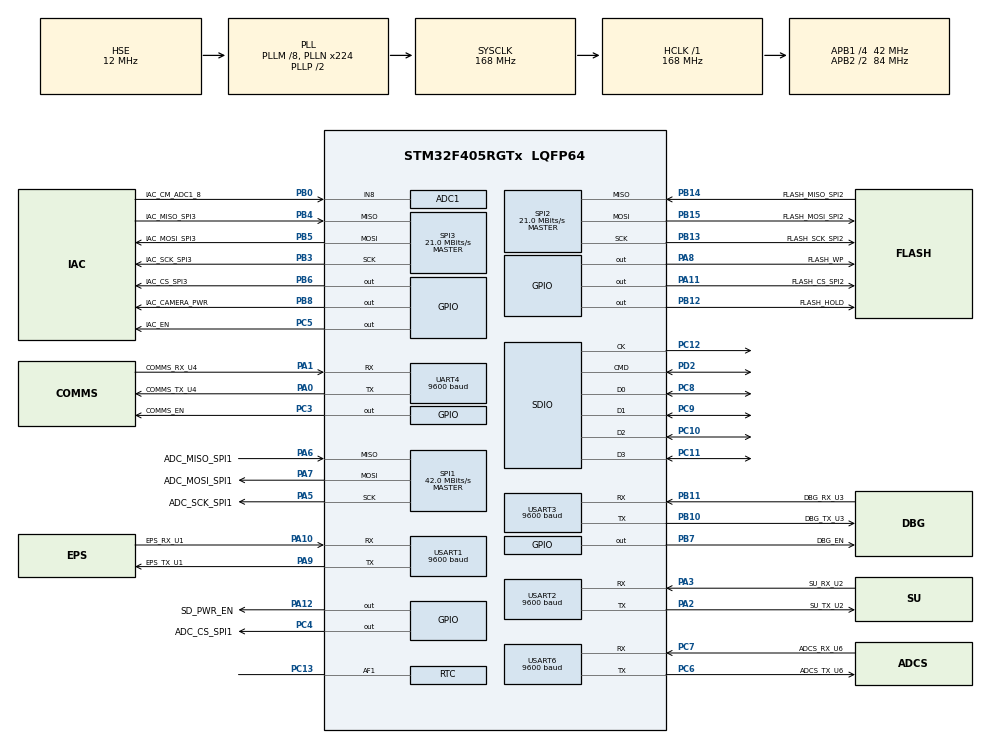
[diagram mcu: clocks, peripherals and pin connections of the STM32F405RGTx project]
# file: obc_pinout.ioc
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ADC1.Channel-17\#ChannelRegularConversion=ADC_CHANNEL_8
ADC1.NbrOfConversionFlag=1
ADC1.Rank-17\#ChannelRegularConversion=1
ADC1.SamplingTime-17\#ChannelRegularConversion=ADC_SAMPLETIME_3CYCLES
ADC1.master=1
Dma.Request0=USART2_TX
Dma.Request1=USART3_TX
Dma.Request2=USART6_TX
Dma.Request3=USART1_TX
Dma.Request4=UART4_TX
Dma.UART4_TX.4.Channel=DMA_CHANNEL_4
Dma.UART4_TX.4.Direction=DMA_MEMORY_TO_PERIPH
Dma.UART4_TX.4.FIFOMode=DMA_FIFOMODE_DISABLE
Dma.UART4_TX.4.Instance=DMA1_Stream4
Dma.UART4_TX.4.MemDataAlignment=DMA_MDATAALIGN_BYTE
Dma.UART4_TX.4.MemInc=DMA_MINC_ENABLE
Dma.UART4_TX.4.Mode=DMA_NORMAL
Dma.UART4_TX.4.PeriphDataAlignment=DMA_PDATAALIGN_BYTE
Dma.UART4_TX.4.PeriphInc=DMA_PINC_DISABLE
Dma.UART4_TX.4.Priority=DMA_PRIORITY_LOW
Dma.USART1_TX.3.Channel=DMA_CHANNEL_4
Dma.USART1_TX.3.Direction=DMA_MEMORY_TO_PERIPH
Dma.USART1_TX.3.FIFOMode=DMA_FIFOMODE_DISABLE
Dma.USART1_TX.3.Instance=DMA2_Stream7
Dma.USART1_TX.3.MemDataAlignment=DMA_MDATAALIGN_BYTE
Dma.USART1_TX.3.MemInc=DMA_MINC_ENABLE
Dma.USART1_TX.3.Mode=DMA_NORMAL
Dma.USART1_TX.3.PeriphDataAlignment=DMA_PDATAALIGN_BYTE
Dma.USART1_TX.3.PeriphInc=DMA_PINC_DISABLE
Dma.USART1_TX.3.Priority=DMA_PRIORITY_LOW
Dma.USART2_TX.0.Channel=DMA_CHANNEL_4
Dma.USART2_TX.0.Direction=DMA_MEMORY_TO_PERIPH
Dma.USART2_TX.0.FIFOMode=DMA_FIFOMODE_DISABLE
Dma.USART2_TX.0.Instance=DMA1_Stream6
Dma.USART2_TX.0.MemDataAlignment=DMA_MDATAALIGN_BYTE
Dma.USART2_TX.0.MemInc=DMA_MINC_ENABLE
Dma.USART2_TX.0.Mode=DMA_NORMAL
Dma.USART2_TX.0.PeriphDataAlignment=DMA_PDATAALIGN_BYTE
Dma.USART2_TX.0.PeriphInc=DMA_PINC_DISABLE
Dma.USART2_TX.0.Priority=DMA_PRIORITY_LOW
Dma.USART3_TX.1.Channel=DMA_CHANNEL_4
Dma.USART3_TX.1.Direction=DMA_MEMORY_TO_PERIPH
Dma.USART3_TX.1.FIFOMode=DMA_FIFOMODE_DISABLE
Dma.USART3_TX.1.Instance=DMA1_Stream3
Dma.USART3_TX.1.MemDataAlignment=DMA_MDATAALIGN_BYTE
Dma.USART3_TX.1.MemInc=DMA_MINC_ENABLE
Dma.USART3_TX.1.Mode=DMA_NORMAL
Dma.USART3_TX.1.PeriphDataAlignment=DMA_PDATAALIGN_BYTE
Dma.USART3_TX.1.PeriphInc=DMA_PINC_DISABLE
Dma.USART3_TX.1.Priority=DMA_PRIORITY_LOW
Dma.USART6_TX.2.Channel=DMA_CHANNEL_5
Dma.USART6_TX.2.Direction=DMA_MEMORY_TO_PERIPH
Dma.USART6_TX.2.FIFOMode=DMA_FIFOMODE_DISABLE
Dma.USART6_TX.2.Instance=DMA2_Stream6
Dma.USART6_TX.2.MemDataAlignment=DMA_MDATAALIGN_BYTE
Dma.USART6_TX.2.MemInc=DMA_MINC_ENABLE
Dma.USART6_TX.2.Mode=DMA_NORMAL
Dma.USART6_TX.2.PeriphDataAlignment=DMA_PDATAALIGN_BYTE
Dma.USART6_TX.2.PeriphInc=DMA_PINC_DISABLE
Dma.USART6_TX.2.Priority=DMA_PRIORITY_LOW
FATFS._FS_LOCK=1
FREERTOS.Tasks01=defaultTask,0,128,StartDefaultTask,Default;HK,-2,128,HK_task,Default
Mcu.Family=STM32F4
Mcu.Name=STM32F405RGTx
Mcu.Package=LQFP64
NVIC.DMA1_Stream3_IRQn=true\:5\:0\:false\:false\:true
NVIC.DMA1_Stream4_IRQn=true\:5\:0\:false\:false\:true
NVIC.DMA1_Stream6_IRQn=true\:5\:0\:false\:false\:true
NVIC.DMA2_Stream6_IRQn=true\:5\:0\:false\:false\:true
NVIC.DMA2_Stream7_IRQn=true\:5\:0\:false\:false\:true
NVIC.PriorityGroup=NVIC_PRIORITYGROUP_4
NVIC.SDIO_IRQn=true\:5\:0\:false\:false\:true
NVIC.TIM1_UP_TIM10_IRQn=true\:0\:0\:false\:false\:true
NVIC.TimeBase=TIM1_UP_TIM10_IRQn
NVIC.TimeBaseIP=TIM1
NVIC.UART4_IRQn=true\:5\:0\:false\:false\:true
NVIC.USART1_IRQn=true\:5\:0\:false\:false\:true
NVIC.USART2_IRQn=true\:5\:0\:false\:false\:true
NVIC.USART3_IRQn=true\:5\:0\:false\:false\:true
NVIC.USART6_IRQn=true\:5\:0\:false\:false\:true
PA0-WKUP.GPIO_Label=COMMS_TX_U4
PA0-WKUP.Mode=Asynchronous
PA0-WKUP.Signal=UART4_TX
PA1.GPIO_Label=COMMS_RX_U4
PA1.Mode=Asynchronous
PA1.Signal=UART4_RX
PA10.GPIO_Label=EPS_RX_U1
PA10.Mode=Asynchronous
PA10.Signal=USART1_RX
PA11.GPIO_Label=FLASH_CS_SPI2
PA11.Signal=GPIO_Output
PA12.GPIO_Label=SD_PWR_EN
PA12.Signal=GPIO_Output
PA13.Mode=Serial-Wire
PA13.Signal=SYS_JTMS-SWDIO
PA14.Mode=Serial-Wire
PA14.Signal=SYS_JTCK-SWCLK
PA2.GPIO_Label=SU_TX_U2
PA2.Mode=Asynchronous
PA2.Signal=USART2_TX
PA3.GPIO_Label=SU_RX_U2
PA3.Mode=Asynchronous
PA3.Signal=USART2_RX
PA5.GPIO_Label=ADC_SCK_SPI1
PA5.Mode=Full_Duplex_Master
PA5.Signal=SPI1_SCK
PA6.GPIO_Label=ADC_MISO_SPI1
PA6.Mode=Full_Duplex_Master
PA6.Signal=SPI1_MISO
PA7.GPIO_Label=ADC_MOSI_SPI1
PA7.Mode=Full_Duplex_Master
PA7.Signal=SPI1_MOSI
PA8.GPIO_Label=FLASH_WP
PA8.Signal=GPIO_Output
PA9.GPIO_Label=EPS_TX_U1
PA9.Mode=Asynchronous
PA9.Signal=USART1_TX
PB0.GPIO_Label=IAC_CM_ADC1_8
PB0.Signal=ADCx_IN8
PB10.GPIO_Label=DBG_TX_U3
PB10.Mode=Asynchronous
PB10.Signal=USART3_TX
PB11.GPIO_Label=DBG_RX_U3
PB11.Mode=Asynchronous
PB11.Signal=USART3_RX
PB12.GPIO_Label=FLASH_HOLD
PB12.Signal=GPIO_Output
PB13.GPIO_Label=FLASH_SCK_SPI2
PB13.Mode=Full_Duplex_Master
PB13.Signal=SPI2_SCK
PB14.GPIO_Label=FLASH_MISO_SPI2
PB14.Mode=Full_Duplex_Master
PB14.Signal=SPI2_MISO
PB15.GPIO_Label=FLASH_MOSI_SPI2
PB15.Mode=Full_Duplex_Master
PB15.Signal=SPI2_MOSI
PB3.GPIO_Label=IAC_SCK_SPI3
PB3.Mode=Full_Duplex_Master
PB3.Signal=SPI3_SCK
PB4.GPIO_Label=IAC_MISO_SPI3
PB4.Mode=Full_Duplex_Master
PB4.Signal=SPI3_MISO
PB5.GPIO_Label=IAC_MOSI_SPI3
PB5.Mode=Full_Duplex_Master
PB5.Signal=SPI3_MOSI
PB6.GPIO_Label=IAC_CS_SPI3
PB6.Signal=GPIO_Output
PB7.GPIO_Label=DBG_EN
PB7.Signal=GPIO_Output
PB8.GPIO_Label=IAC_CAMERA_PWR
PB8.Signal=GPIO_Output
PC10.Mode=SD_4_bits_Wide_bus
PC10.Signal=SDIO_D2
PC11.Mode=SD_4_bits_Wide_bus
PC11.Signal=SDIO_D3
PC12.Mode=SD_4_bits_Wide_bus
PC12.Signal=SDIO_CK
PC13-ANTI_TAMP.Mode=Calibration_1Hz
PC13-ANTI_TAMP.Signal=RTC_AF1
PC14-OSC32_IN.Mode=LSE-External-Oscillator
PC14-OSC32_IN.Signal=RCC_OSC32_IN
PC15-OSC32_OUT.Mode=LSE-External-Oscillator
PC15-OSC32_OUT.Signal=RCC_OSC32_OUT
PC3.GPIO_Label=COMMS_EN
PC3.Signal=GPIO_Output
PC4.GPIO_Label=ADC_CS_SPI1
PC4.Signal=GPIO_Output
PC5.GPIO_Label=IAC_EN
PC5.Signal=GPIO_Output
PC6.GPIO_Label=ADCS_TX_U6
PC6.Mode=Asynchronous
PC6.Signal=USART6_TX
PC7.GPIO_Label=ADCS_RX_U6
PC7.Mode=Asynchronous
PC7.Signal=USART6_RX
PC8.Mode=SD_4_bits_Wide_bus
PC8.Signal=SDIO_D0
PC9.Mode=SD_4_bits_Wide_bus
PC9.Signal=SDIO_D1
PD2.Mode=SD_4_bits_Wide_bus
PD2.Signal=SDIO_CMD
PH0-OSC_IN.Mode=HSE-External-Oscillator
PH0-OSC_IN.Signal=RCC_OSC_IN
PH1-OSC_OUT.Mode=HSE-External-Oscillator
PH1-OSC_OUT.Signal=RCC_OSC_OUT
ProjectManager.HeapSize=0x200
ProjectManager.StackSize=0x400
ProjectManager.TargetToolchain=EWARM
RCC.48MHZClocksFreq_Value=48000000
RCC.AHBFreq_Value=168000000
RCC.APB1CLKDivider=RCC_HCLK_DIV4
RCC.APB1Freq_Value=42000000
RCC.APB1TimFreq_Value=84000000
RCC.APB2CLKDivider=RCC_HCLK_DIV2
RCC.APB2Freq_Value=84000000
RCC.APB2TimFreq_Value=168000000
RCC.CortexFreq_Value=168000000
RCC.HCLKFreq_Value=168000000
RCC.HSE_VALUE=12000000
RCC.HSI_VALUE=16000000
RCC.PLLM=8
RCC.PLLN=224
RCC.PLLQ=7
RCC.PLLSourceVirtual=RCC_PLLSOURCE_HSE
RCC.RCC_RTC_Clock_Source=RCC_RTCCLKSOURCE_LSE
RCC.SYSCLKFreq_VALUE=168000000
RCC.SYSCLKSource=RCC_SYSCLKSOURCE_PLLCLK
RCC.VCOOutputFreq_Value=336000000
RTC.Format=RTC_FORMAT_BIN
SDIO.BusWide=SDIO_BUS_WIDE_1B
SDIO.WideMode=SDIO_BUS_WIDE_4B
SH.ADCx_IN8.0=ADC1_IN8,IN8
SPI1.CalculateBaudRate=42.0 MBits/s
SPI1.Mode=SPI_MODE_MASTER
SPI2.CalculateBaudRate=21.0 MBits/s
SPI2.Mode=SPI_MODE_MASTER
SPI3.CalculateBaudRate=21.0 MBits/s
SPI3.Mode=SPI_MODE_MASTER
UART4.BaudRate=9600
USART1.BaudRate=9600
USART2.BaudRate=9600
USART3.BaudRate=9600
USART6.BaudRate=9600
VP_FATFS_VS_SDIO.Mode=SDIO
VP_FREERTOS_VS_ENABLE.Mode=Enabled
VP_SYS_VS_tim1.Mode=TIM1
board=obc_pinout

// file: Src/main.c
/**
  ******************************************************************************
  * File Name          : main.c
  * Description        : Main program body
  ******************************************************************************
  *
  * COPYRIGHT(c) 2016 STMicroelectronics
  *
  * Redistribution and use in source and binary forms, with or without modification,
  * are permitted provided that the following conditions are met:
  *   1. Redistributions of source code must retain the above copyright notice,
  *      this list of conditions and the following disclaimer.
  *   2. Redistributions in binary form must reproduce the above copyright notice,
  *      this list of conditions and the following disclaimer in the documentation
  *      and/or other materials provided with the distribution.
  *   3. Neither the name of STMicroelectronics nor the names of its contributors
  *      may be used to endorse or promote products derived from this software
  *      without specific prior written permission.
  *
  * THIS SOFTWARE IS PROVIDED BY THE COPYRIGHT HOLDERS AND CONTRIBUTORS "AS IS"
  * AND ANY EXPRESS OR IMPLIED WARRANTIES, INCLUDING, BUT NOT LIMITED TO, THE
  * IMPLIED WARRANTIES OF MERCHANTABILITY AND FITNESS FOR A PARTICULAR PURPOSE ARE
  * DISCLAIMED. IN NO EVENT SHALL THE COPYRIGHT HOLDER OR CONTRIBUTORS BE LIABLE
  * FOR ANY DIRECT, INDIRECT, INCIDENTAL, SPECIAL, EXEMPLARY, OR CONSEQUENTIAL
  * DAMAGES (INCLUDING, BUT NOT LIMITED TO, PROCUREMENT OF SUBSTITUTE GOODS OR
  * SERVICES; LOSS OF USE, DATA, OR PROFITS; OR BUSINESS INTERRUPTION) HOWEVER
  * CAUSED AND ON ANY THEORY OF LIABILITY, WHETHER IN CONTRACT, STRICT LIABILITY,
  * OR TORT (INCLUDING NEGLIGENCE OR OTHERWISE) ARISING IN ANY WAY OUT OF THE USE
  * OF THIS SOFTWARE, EVEN IF ADVISED OF THE POSSIBILITY OF SUCH DAMAGE.
  *
  ******************************************************************************
  */
#include "stm32f4xx_hal.h"
#include "cmsis_os.h"
#include "fatfs.h"

/* USER CODE BEGIN Includes */
#include "../../services/service_utilities.h"
/* USER CODE END Includes */

ADC_HandleTypeDef hadc1;

RTC_HandleTypeDef hrtc;

SD_HandleTypeDef hsd;
HAL_SD_CardInfoTypedef SDCardInfo;

SPI_HandleTypeDef hspi1;
SPI_HandleTypeDef hspi2;
SPI_HandleTypeDef hspi3;

UART_HandleTypeDef huart4;
UART_HandleTypeDef huart1;
UART_HandleTypeDef huart2;
UART_HandleTypeDef huart3;
UART_HandleTypeDef huart6;
DMA_HandleTypeDef hdma_uart4_tx;
DMA_HandleTypeDef hdma_usart1_tx;
DMA_HandleTypeDef hdma_usart2_tx;
DMA_HandleTypeDef hdma_usart3_tx;
DMA_HandleTypeDef hdma_usart6_tx;

osThreadId defaultTaskHandle;
osThreadId HKHandle;

/* USER CODE BEGIN PV */
/* Private variables ---------------------------------------------------------*/

/* USER CODE END PV */

void SystemClock_Config(void);
static void MX_GPIO_Init(void);
static void MX_DMA_Init(void);
static void MX_SDIO_SD_Init(void);
static void MX_UART4_Init(void);
static void MX_USART2_UART_Init(void);
static void MX_USART3_UART_Init(void);
static void MX_USART6_UART_Init(void);
static void MX_USART1_UART_Init(void);
static void MX_SPI2_Init(void);
static void MX_SPI1_Init(void);
static void MX_SPI3_Init(void);
static void MX_ADC1_Init(void);
static void MX_RTC_Init(void);
void StartDefaultTask(void const * argument);
void HK_task(void const * argument);

/* USER CODE BEGIN PFP */
/* Private function prototypes -----------------------------------------------*/

/* USER CODE END PFP */

int main(void)
{

  /* MCU Configuration----------------------------------------------------------*/

  /* Reset of all peripherals, Initializes the Flash interface and the Systick. */
  HAL_Init();

  /* Configure the system clock */
  SystemClock_Config();

  /* Initialize all configured peripherals */
  MX_GPIO_Init();
  MX_DMA_Init();
  MX_SDIO_SD_Init();
  MX_UART4_Init();
  MX_USART2_UART_Init();
  MX_USART3_UART_Init();
  MX_USART6_UART_Init();
  MX_USART1_UART_Init();
  MX_SPI2_Init();
  MX_SPI1_Init();
  MX_SPI3_Init();
  MX_ADC1_Init();
  MX_RTC_Init();

  /* Create the thread(s) */
  /* definition and creation of defaultTask */
  osThreadDef(defaultTask, StartDefaultTask, osPriorityNormal, 0, 128);
  defaultTaskHandle = osThreadCreate(osThread(defaultTask), NULL);

  /* definition and creation of HK */
  osThreadDef(HK, HK_task, osPriorityLow, 0, 128);
  HKHandle = osThreadCreate(osThread(HK), NULL);

  /* Start scheduler */
  osKernelStart();

  /* We should never get here as control is now taken by the scheduler */

  /* Infinite loop */
  while (1)
  {

  }

}

/** System Clock Configuration
*/
void SystemClock_Config(void)
{

  RCC_OscInitTypeDef RCC_OscInitStruct;
  RCC_ClkInitTypeDef RCC_ClkInitStruct;
  RCC_PeriphCLKInitTypeDef PeriphClkInitStruct;

  __HAL_RCC_PWR_CLK_ENABLE();

  __HAL_PWR_VOLTAGESCALING_CONFIG(PWR_REGULATOR_VOLTAGE_SCALE1);

  RCC_OscInitStruct.OscillatorType = RCC_OSCILLATORTYPE_HSE|RCC_OSCILLATORTYPE_LSE;
  RCC_OscInitStruct.HSEState = RCC_HSE_ON;
  RCC_OscInitStruct.LSEState = RCC_LSE_ON;
  RCC_OscInitStruct.PLL.PLLState = RCC_PLL_ON;
  RCC_OscInitStruct.PLL.PLLSource = RCC_PLLSOURCE_HSE;
  RCC_OscInitStruct.PLL.PLLM = 8;
  RCC_OscInitStruct.PLL.PLLN = 224;
  RCC_OscInitStruct.PLL.PLLP = RCC_PLLP_DIV2;
  RCC_OscInitStruct.PLL.PLLQ = 7;
  HAL_RCC_OscConfig(&RCC_OscInitStruct);

  RCC_ClkInitStruct.ClockType = RCC_CLOCKTYPE_HCLK|RCC_CLOCKTYPE_SYSCLK
                              |RCC_CLOCKTYPE_PCLK1|RCC_CLOCKTYPE_PCLK2;
  RCC_ClkInitStruct.SYSCLKSource = RCC_SYSCLKSOURCE_PLLCLK;
  RCC_ClkInitStruct.AHBCLKDivider = RCC_SYSCLK_DIV1;
  RCC_ClkInitStruct.APB1CLKDivider = RCC_HCLK_DIV4;
  RCC_ClkInitStruct.APB2CLKDivider = RCC_HCLK_DIV2;
  HAL_RCC_ClockConfig(&RCC_ClkInitStruct, FLASH_LATENCY_5);

  PeriphClkInitStruct.PeriphClockSelection = RCC_PERIPHCLK_RTC;
  PeriphClkInitStruct.RTCClockSelection = RCC_RTCCLKSOURCE_LSE;
  HAL_RCCEx_PeriphCLKConfig(&PeriphClkInitStruct);

  HAL_SYSTICK_Config(HAL_RCC_GetHCLKFreq()/1000);

  HAL_SYSTICK_CLKSourceConfig(SYSTICK_CLKSOURCE_HCLK);

  /* SysTick_IRQn interrupt configuration */
  HAL_NVIC_SetPriority(SysTick_IRQn, 15, 0);
}

/* ADC1 init function */
void MX_ADC1_Init(void)
{

  ADC_ChannelConfTypeDef sConfig;

    /**Configure the global features of the ADC (Clock, Resolution, Data Alignment and number of conversion)
    */
  hadc1.Instance = ADC1;
  hadc1.Init.ClockPrescaler = ADC_CLOCK_SYNC_PCLK_DIV2;
  hadc1.Init.Resolution = ADC_RESOLUTION_12B;
  hadc1.Init.ScanConvMode = DISABLE;
  hadc1.Init.ContinuousConvMode = DISABLE;
  hadc1.Init.DiscontinuousConvMode = DISABLE;
  hadc1.Init.ExternalTrigConvEdge = ADC_EXTERNALTRIGCONVEDGE_NONE;
  hadc1.Init.DataAlign = ADC_DATAALIGN_RIGHT;
  hadc1.Init.NbrOfConversion = 1;
  hadc1.Init.DMAContinuousRequests = DISABLE;
  hadc1.Init.EOCSelection = ADC_EOC_SINGLE_CONV;
  HAL_ADC_Init(&hadc1);

    /**Configure for the selected ADC regular channel its corresponding rank in the sequencer and its sample time.
    */
  sConfig.Channel = ADC_CHANNEL_8;
  sConfig.Rank = 1;
  sConfig.SamplingTime = ADC_SAMPLETIME_3CYCLES;
  HAL_ADC_ConfigChannel(&hadc1, &sConfig);

}

/* RTC init function */
void MX_RTC_Init(void)
{

  RTC_TimeTypeDef sTime;
  RTC_DateTypeDef sDate;

    /**Initialize RTC and set the Time and Date
    */
  hrtc.Instance = RTC;
  hrtc.Init.HourFormat = RTC_HOURFORMAT_24;
  hrtc.Init.AsynchPrediv = 127;
  hrtc.Init.SynchPrediv = 255;
  hrtc.Init.OutPut = RTC_OUTPUT_DISABLE;
  hrtc.Init.OutPutPolarity = RTC_OUTPUT_POLARITY_HIGH;
  hrtc.Init.OutPutType = RTC_OUTPUT_TYPE_OPENDRAIN;
  HAL_RTC_Init(&hrtc);

  sTime.Hours = 0;
  sTime.Minutes = 0;
  sTime.Seconds = 0;
  sTime.DayLightSaving = RTC_DAYLIGHTSAVING_NONE;
  sTime.StoreOperation = RTC_STOREOPERATION_RESET;
  HAL_RTC_SetTime(&hrtc, &sTime, RTC_FORMAT_BIN);

  sDate.WeekDay = RTC_WEEKDAY_MONDAY;
  sDate.Month = RTC_MONTH_JANUARY;
  sDate.Date = 1;
  sDate.Year = 0;

  HAL_RTC_SetDate(&hrtc, &sDate, RTC_FORMAT_BIN);

    /**Enable Calibrartion
    */
  HAL_RTCEx_SetCalibrationOutPut(&hrtc, RTC_CALIBOUTPUT_1HZ);

}

/* SDIO init function */
void MX_SDIO_SD_Init(void)
{

  hsd.Instance = SDIO;
  hsd.Init.ClockEdge = SDIO_CLOCK_EDGE_RISING;
  hsd.Init.ClockBypass = SDIO_CLOCK_BYPASS_DISABLE;
  hsd.Init.ClockPowerSave = SDIO_CLOCK_POWER_SAVE_DISABLE;
  hsd.Init.BusWide = SDIO_BUS_WIDE_1B;
  hsd.Init.HardwareFlowControl = SDIO_HARDWARE_FLOW_CONTROL_DISABLE;
  hsd.Init.ClockDiv = 0;

}

/* SPI1 init function */
void MX_SPI1_Init(void)
{

  hspi1.Instance = SPI1;
  hspi1.Init.Mode = SPI_MODE_MASTER;
  hspi1.Init.Direction = SPI_DIRECTION_2LINES;
  hspi1.Init.DataSize = SPI_DATASIZE_8BIT;
  hspi1.Init.CLKPolarity = SPI_POLARITY_LOW;
  hspi1.Init.CLKPhase = SPI_PHASE_1EDGE;
  hspi1.Init.NSS = SPI_NSS_SOFT;
  hspi1.Init.BaudRatePrescaler = SPI_BAUDRATEPRESCALER_2;
  hspi1.Init.FirstBit = SPI_FIRSTBIT_MSB;
  hspi1.Init.TIMode = SPI_TIMODE_DISABLE;
  hspi1.Init.CRCCalculation = SPI_CRCCALCULATION_DISABLE;
  hspi1.Init.CRCPolynomial = 10;
  HAL_SPI_Init(&hspi1);

}

/* SPI2 init function */
void MX_SPI2_Init(void)
{

  hspi2.Instance = SPI2;
  hspi2.Init.Mode = SPI_MODE_MASTER;
  hspi2.Init.Direction = SPI_DIRECTION_2LINES;
  hspi2.Init.DataSize = SPI_DATASIZE_8BIT;
  hspi2.Init.CLKPolarity = SPI_POLARITY_LOW;
  hspi2.Init.CLKPhase = SPI_PHASE_1EDGE;
  hspi2.Init.NSS = SPI_NSS_SOFT;
  hspi2.Init.BaudRatePrescaler = SPI_BAUDRATEPRESCALER_2;
  hspi2.Init.FirstBit = SPI_FIRSTBIT_MSB;
  hspi2.Init.TIMode = SPI_TIMODE_DISABLE;
  hspi2.Init.CRCCalculation = SPI_CRCCALCULATION_DISABLE;
  hspi2.Init.CRCPolynomial = 10;
  HAL_SPI_Init(&hspi2);

}

/* SPI3 init function */
void MX_SPI3_Init(void)
{

  hspi3.Instance = SPI3;
  hspi3.Init.Mode = SPI_MODE_MASTER;
  hspi3.Init.Direction = SPI_DIRECTION_2LINES;
  hspi3.Init.DataSize = SPI_DATASIZE_8BIT;
  hspi3.Init.CLKPolarity = SPI_POLARITY_LOW;
  hspi3.Init.CLKPhase = SPI_PHASE_1EDGE;
  hspi3.Init.NSS = SPI_NSS_SOFT;
  hspi3.Init.BaudRatePrescaler = SPI_BAUDRATEPRESCALER_2;
  hspi3.Init.FirstBit = SPI_FIRSTBIT_MSB;
  hspi3.Init.TIMode = SPI_TIMODE_DISABLE;
  hspi3.Init.CRCCalculation = SPI_CRCCALCULATION_DISABLE;
  hspi3.Init.CRCPolynomial = 10;
  HAL_SPI_Init(&hspi3);

}

/* UART4 init function */
void MX_UART4_Init(void)
{

  huart4.Instance = UART4;
  huart4.Init.BaudRate = 9600;
  huart4.Init.WordLength = UART_WORDLENGTH_8B;
  huart4.Init.StopBits = UART_STOPBITS_1;
  huart4.Init.Parity = UART_PARITY_NONE;
  huart4.Init.Mode = UART_MODE_TX_RX;
  huart4.Init.HwFlowCtl = UART_HWCONTROL_NONE;
  huart4.Init.OverSampling = UART_OVERSAMPLING_16;
  HAL_UART_Init(&huart4);

}

/* USART1 init function */
void MX_USART1_UART_Init(void)
{

  huart1.Instance = USART1;
  huart1.Init.BaudRate = 9600;
  huart1.Init.WordLength = UART_WORDLENGTH_8B;
  huart1.Init.StopBits = UART_STOPBITS_1;
  huart1.Init.Parity = UART_PARITY_NONE;
  huart1.Init.Mode = UART_MODE_TX_RX;
  huart1.Init.HwFlowCtl = UART_HWCONTROL_NONE;
  huart1.Init.OverSampling = UART_OVERSAMPLING_16;
  HAL_UART_Init(&huart1);

}

/* USART2 init function */
void MX_USART2_UART_Init(void)
{

  huart2.Instance = USART2;
  huart2.Init.BaudRate = 9600;
  huart2.Init.WordLength = UART_WORDLENGTH_8B;
  huart2.Init.StopBits = UART_STOPBITS_1;
  huart2.Init.Parity = UART_PARITY_NONE;
  huart2.Init.Mode = UART_MODE_TX_RX;
  huart2.Init.HwFlowCtl = UART_HWCONTROL_NONE;
  huart2.Init.OverSampling = UART_OVERSAMPLING_16;
  HAL_UART_Init(&huart2);

}

/* USART3 init function */
void MX_USART3_UART_Init(void)
{

  huart3.Instance = USART3;
  huart3.Init.BaudRate = 9600;
  huart3.Init.WordLength = UART_WORDLENGTH_8B;
  huart3.Init.StopBits = UART_STOPBITS_1;
  huart3.Init.Parity = UART_PARITY_NONE;
  huart3.Init.Mode = UART_MODE_TX_RX;
  huart3.Init.HwFlowCtl = UART_HWCONTROL_NONE;
  huart3.Init.OverSampling = UART_OVERSAMPLING_16;
  HAL_UART_Init(&huart3);

}

/* USART6 init function */
void MX_USART6_UART_Init(void)
{

  huart6.Instance = USART6;
  huart6.Init.BaudRate = 9600;
  huart6.Init.WordLength = UART_WORDLENGTH_8B;
  huart6.Init.StopBits = UART_STOPBITS_1;
  huart6.Init.Parity = UART_PARITY_NONE;
  huart6.Init.Mode = UART_MODE_TX_RX;
  huart6.Init.HwFlowCtl = UART_HWCONTROL_NONE;
  huart6.Init.OverSampling = UART_OVERSAMPLING_16;
  HAL_UART_Init(&huart6);

}

void MX_DMA_Init(void)
{
  /* DMA controller clock enable */
  __HAL_RCC_DMA1_CLK_ENABLE();
  __HAL_RCC_DMA2_CLK_ENABLE();

  /* DMA interrupt init */
  /* DMA1_Stream3_IRQn interrupt configuration */
  HAL_NVIC_SetPriority(DMA1_Stream3_IRQn, 5, 0);
  HAL_NVIC_EnableIRQ(DMA1_Stream3_IRQn);
  /* DMA1_Stream4_IRQn interrupt configuration */
  HAL_NVIC_SetPriority(DMA1_Stream4_IRQn, 5, 0);
  HAL_NVIC_EnableIRQ(DMA1_Stream4_IRQn);
  /* DMA1_Stream6_IRQn interrupt configuration */
  HAL_NVIC_SetPriority(DMA1_Stream6_IRQn, 5, 0);
  HAL_NVIC_EnableIRQ(DMA1_Stream6_IRQn);
  /* DMA2_Stream6_IRQn interrupt configuration */
  HAL_NVIC_SetPriority(DMA2_Stream6_IRQn, 5, 0);
  HAL_NVIC_EnableIRQ(DMA2_Stream6_IRQn);
  /* DMA2_Stream7_IRQn interrupt configuration */
  HAL_NVIC_SetPriority(DMA2_Stream7_IRQn, 5, 0);
  HAL_NVIC_EnableIRQ(DMA2_Stream7_IRQn);

}

/** Configure pins as
        * Analog
        * Input
        * Output
        * EVENT_OUT
        * EXTI
*/
void MX_GPIO_Init(void)
{

  GPIO_InitTypeDef GPIO_InitStruct;

  /* GPIO Ports Clock Enable */
  __HAL_RCC_GPIOC_CLK_ENABLE();
  __HAL_RCC_GPIOH_CLK_ENABLE();
  __HAL_RCC_GPIOA_CLK_ENABLE();
  __HAL_RCC_GPIOB_CLK_ENABLE();
  __HAL_RCC_GPIOD_CLK_ENABLE();

  /*Configure GPIO pin Output Level */
  HAL_GPIO_WritePin(GPIOC, COMMS_EN_Pin|ADC_CS_SPI1_Pin|IAC_EN_Pin, GPIO_PIN_RESET);

  /*Configure GPIO pin Output Level */
  HAL_GPIO_WritePin(GPIOB, FLASH_HOLD_Pin|IAC_CS_SPI3_Pin|DBG_EN_Pin|IAC_CAMERA_PWR_Pin, GPIO_PIN_RESET);

  /*Configure GPIO pin Output Level */
  HAL_GPIO_WritePin(GPIOA, FLASH_WP_Pin|FLASH_CS_SPI2_Pin|SD_PWR_EN_Pin, GPIO_PIN_RESET);

  /*Configure GPIO pins : COMMS_EN_Pin ADC_CS_SPI1_Pin IAC_EN_Pin */
  GPIO_InitStruct.Pin = COMMS_EN_Pin|ADC_CS_SPI1_Pin|IAC_EN_Pin;
  GPIO_InitStruct.Mode = GPIO_MODE_OUTPUT_PP;
  GPIO_InitStruct.Pull = GPIO_NOPULL;
  GPIO_InitStruct.Speed = GPIO_SPEED_FREQ_LOW;
  HAL_GPIO_Init(GPIOC, &GPIO_InitStruct);

  /*Configure GPIO pins : FLASH_HOLD_Pin IAC_CS_SPI3_Pin DBG_EN_Pin IAC_CAMERA_PWR_Pin */
  GPIO_InitStruct.Pin = FLASH_HOLD_Pin|IAC_CS_SPI3_Pin|DBG_EN_Pin|IAC_CAMERA_PWR_Pin;
  GPIO_InitStruct.Mode = GPIO_MODE_OUTPUT_PP;
  GPIO_InitStruct.Pull = GPIO_NOPULL;
  GPIO_InitStruct.Speed = GPIO_SPEED_FREQ_LOW;
  HAL_GPIO_Init(GPIOB, &GPIO_InitStruct);

  /*Configure GPIO pins : FLASH_WP_Pin FLASH_CS_SPI2_Pin SD_PWR_EN_Pin */
  GPIO_InitStruct.Pin = FLASH_WP_Pin|FLASH_CS_SPI2_Pin|SD_PWR_EN_Pin;
  GPIO_InitStruct.Mode = GPIO_MODE_OUTPUT_PP;
  GPIO_InitStruct.Pull = GPIO_NOPULL;
  GPIO_InitStruct.Speed = GPIO_SPEED_FREQ_LOW;
  HAL_GPIO_Init(GPIOA, &GPIO_InitStruct);

}

/* StartDefaultTask function */
void StartDefaultTask(void const * argument)
{
  /* init code for FATFS */
  MX_FATFS_Init();

  /* USER CODE BEGIN 5 */
   //obc_data.rsrc = 0;
   HAL_reset_source(&obc_data.rsrc);
   update_boot_counter();

   //uint32_t t1, t2, t3;

   //t1 = time_cmp_elapsed(3, 6);
   //t2 = time_cmp_elapsed(0xfffffff0, 0xfffffff6);
   //t3 = time_cmp_elapsed(0xfffffff0, 3);

   //t1 = get_time_ELAPSED();
   //osDelay(10);
   //t2 = get_time_ELAPSED();
   //osDelay(1000);
   //t3 = get_time_ELAPSED();

   //event_log(reset source);

   uint8_t uart_temp[20];

   pkt_pool_INIT();
   HAL_obc_enableBkUpAccess();
   bkup_sram_INIT();

   mass_storage_init();
   //su_INIT();

   *obc_data.log_cnt = 0;
   //uint8_t hours, mins, sec = 0;
   //HAL_obc_getTime(&hours, &mins, &sec);
   //sprintf((char*)uart_temp, "T: %d:%d.%d\n", hours, mins, sec);
   //HAL_UART_Transmit(&huart2, uart_temp, 19 , 10000);

   //hours = 19;
   //mins = 35;
   //sec = 11;
   //HAL_obc_setTime(hours, mins, sec);
   //sprintf((char*)uart_temp, "T: %d:%d.%d\n", hours, mins, sec);
   //HAL_UART_Transmit(&huart2, uart_temp, 19 , 10000);

   //sprintf((char*)uart_temp, "F: %u\n", *obc_data.log_cnt);
   //HAL_UART_Transmit(&huart2, uart_temp, 19 , 10000);
   //(*obc_data.log_cnt)++;
   //*obc_data.log_cnt = 0;
   //uint8_t tt[] = "YO!\n";
   //event_log(tt, 4);

   //event_log_load(uart_temp, (*obc_data.log_cnt) - 4, 4);
   //HAL_UART_Transmit(&huart2, uart_temp, 5 , 10000);

   //sprintf((char*)uart_temp, "\nR: %02x\n", obc_data.rsrc);
   //HAL_UART_Transmit(&huart2, uart_temp, 19 , 10000);

  sprintf((char*)uart_temp, "Hello\n");
  HAL_UART_Transmit(&huart2, uart_temp, 6 , 10000);

  /*Uart inits*/
  HAL_UART_Receive_IT(&huart2, obc_data.eps_uart_buf, OBC_UART_BUF_SIZE);
  /* Infinite loop */
  for(;;)
  {
    import_eps_pkt();
    //su_SCH();
    osDelay(100);
  }
  /* USER CODE END 5 */
}

/* HK_task function */
void HK_task(void const * argument)
{
  /* USER CODE BEGIN HK_task */
  hk_INIT();
  /* Infinite loop */
  for(;;)
  {
    hk_SCH();
  }
  /* USER CODE END HK_task */
}

/************************ (C) COPYRIGHT STMicroelectronics *****END OF FILE****/
